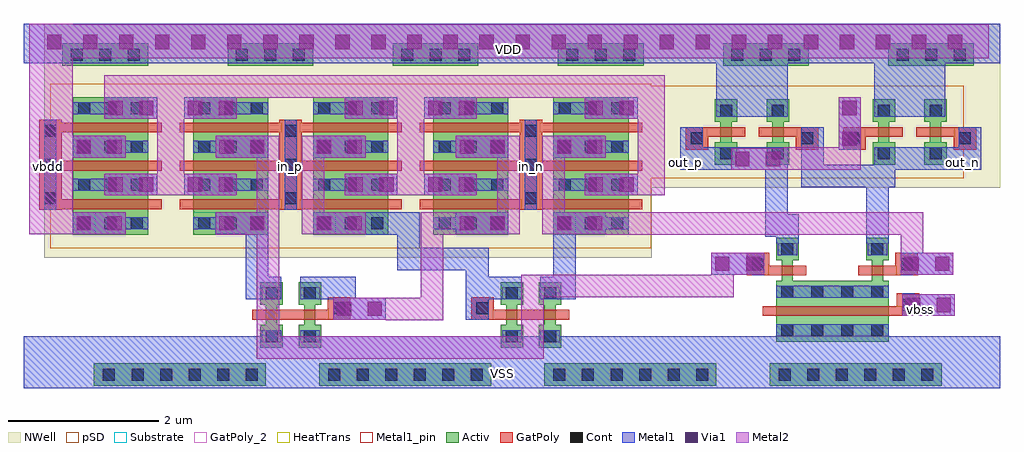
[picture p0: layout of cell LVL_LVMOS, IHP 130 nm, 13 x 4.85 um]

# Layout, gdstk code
from math import pi, radians
import gdstk
lib = gdstk.Library(unit=1e-6, precision=1e-09)
def R(c, l, rs):  # rectangles x0, y0, x1, y1
    for r in rs: c.add(gdstk.rectangle(r[:2], r[2:], *l))
def A(c, l, x, y, w, h, nx, ny, dx, dy):  # array of equal rectangles
    R(c, l, [(x+i*dx, y+j*dy, x+i*dx+w, y+j*dy+h) for i in range(nx) for j in range(ny)])
Activ = (1, 0)
GatPoly = (5, 0)
GatPoly_2 = (5, 2)
Cont = (6, 0)
Metal1 = (8, 0)
Metal1_pin = (8, 2)
Metal2 = (10, 0)
pSD = (14, 0)
Via1 = (19, 0)
NWell = (31, 0)
Substrate = (40, 0)
HeatTrans = (51, 0)

pmos_6 = lib.new_cell('pmos$6')
A(pmos_6, Activ, 0, 0, 0.3, 0.3, 4, 1, 0.51, 0)
R(pmos_6, Activ, [(0,0,1.83,1)])
A(pmos_6, GatPoly, 0.34, -0.18, 0.13, 1.36, 3, 1, 0.51, 0)
R(pmos_6, GatPoly, [(0.34,-0.18,0.47,1.18)])
A(pmos_6, Cont, 0.07, 0.07, 0.16, 0.16, 4, 3, 0.51, 0.35)
A(pmos_6, Metal1, 0.58, 0, 0.16, 1, 3, 1, 0.51, 0)
R(pmos_6, Metal1, [(0.07,0,0.23,1), (0.07,0,0.23,1), (0.58,0,0.74,1)])
R(pmos_6, pSD, [(-0.18,-0.3,2.01,1.3)])
R(pmos_6, NWell, [(-0.31,-0.31,2.14,1.31)])
R(pmos_6, Substrate, [(1.53,0,1.83,0.3)])
A(pmos_6, HeatTrans, 0.34, -0.18, 0.13, 1.36, 3, 1, 0.51, 0)
pmos_6.add(gdstk.Label('pmos', (0.405,0.5), layer=63, texttype=0))
pmos_6.add(gdstk.Label('pmos', (0.405,0.5), layer=51, texttype=0))
pmos_6.add(gdstk.Label('pmos', (0.915,0.5), layer=51, texttype=0))
pmos_6.add(gdstk.Label('pmos', (1.425,0.5), layer=51, texttype=0))

pmos_2 = lib.new_cell('pmos$2')
R(pmos_2, Activ, [(0,0,0.3,0.3), (0.57,0,0.87,0.3), (0,0.075,0.87,0.225)])
R(pmos_2, GatPoly, [(0.37,-0.105,0.5,0.405), (0.37,-0.105,0.5,0.405)])
R(pmos_2, Cont, [(0.07,0.07,0.23,0.23), (0.64,0.07,0.8,0.23)])
R(pmos_2, Metal1, [(0.07,0.02,0.23,0.28), (0.07,0.02,0.23,0.28), (0.64,0.02,0.8,0.28), (0.64,0.02,0.8,0.28)])
R(pmos_2, pSD, [(-0.18,-0.225,1.05,0.525)])
R(pmos_2, NWell, [(-0.31,-0.31,1.18,0.61)])
R(pmos_2, Substrate, [(0.57,0,0.87,0.3)])
R(pmos_2, HeatTrans, [(0.37,-0.105,0.5,0.405)])
pmos_2.add(gdstk.Label('pmos', (0.435,0.15), layer=63, texttype=0))
pmos_2.add(gdstk.Label('pmos', (0.435,0.15), layer=51, texttype=0))

via_stack_8 = lib.new_cell('via_stack$8')
R(via_stack_8, Metal1, [(-0.145,-0.35,0.145,0.35)])
R(via_stack_8, Metal2, [(-0.145,-0.35,0.145,0.35)])
R(via_stack_8, Via1, [(-0.095,-0.3,0.095,-0.11), (-0.095,0.11,0.095,0.3)])

vcm1_3x1 = lib.new_cell('vCM1_3x1')
A(vcm1_3x1, Cont, -0.08, -0.53, 0.16, 0.16, 1, 3, 0, 0.45)
R(vcm1_3x1, Metal1, [(-0.08,-0.6,0.08,0.6)])

vgcm1_3x1 = lib.new_cell('vGCM1_3x1')
R(vgcm1_3x1, GatPoly, [(-0.15,-0.6,0.15,0.6)])
vgcm1_3x1.add(gdstk.Reference(vcm1_3x1, (0,0)))

vgcm1_1x1 = lib.new_cell('vGCM1_1x1')
R(vgcm1_1x1, GatPoly, [(-0.15,-0.15,0.15,0.15)])
R(vgcm1_1x1, Cont, [(-0.08,-0.08,0.08,0.08)])
R(vgcm1_1x1, Metal1, [(-0.08,-0.15,0.08,0.15)])

nmos_6 = lib.new_cell('nmos$6')
R(nmos_6, Activ, [(0,0,0.3,0.3), (0.57,0,0.87,0.3), (0,0.075,0.87,0.225)])
R(nmos_6, GatPoly, [(0.37,-0.105,0.5,0.405)])
R(nmos_6, GatPoly_2, [(0.37,-0.105,0.5,0.405)])
R(nmos_6, Cont, [(0.07,0.07,0.23,0.23), (0.64,0.07,0.8,0.23)])
R(nmos_6, Metal1, [(0.07,0.02,0.23,0.28), (0.64,0.02,0.8,0.28)])
R(nmos_6, Metal1_pin, [(0.07,0.02,0.23,0.28), (0.64,0.02,0.8,0.28)])
R(nmos_6, HeatTrans, [(0.37,-0.105,0.5,0.405)])
nmos_6.add(gdstk.Label('nmos', (0.435,0.15), layer=63, texttype=0))
nmos_6.add(gdstk.Label('nmos', (0.435,0.15), layer=51, texttype=0))

nmos_9 = lib.new_cell('nmos$9')
R(nmos_9, Activ, [(0,0,0.3,0.3), (0,0,0.81,1.5), (0.51,0,0.81,0.3)])
R(nmos_9, GatPoly, [(0.34,-0.18,0.47,1.68)])
R(nmos_9, GatPoly_2, [(0.34,-0.18,0.47,1.68)])
A(nmos_9, Cont, 0.07, 0.07, 0.16, 0.16, 1, 4, 0, 0.4)
A(nmos_9, Cont, 0.58, 0.07, 0.16, 0.16, 1, 4, 0, 0.4)
R(nmos_9, Metal1, [(0.07,0,0.23,1.5), (0.58,0,0.74,1.5)])
R(nmos_9, Metal1_pin, [(0.07,0,0.23,1.5), (0.58,0,0.74,1.5)])
R(nmos_9, HeatTrans, [(0.34,-0.18,0.47,1.68)])
nmos_9.add(gdstk.Label('nmos', (0.405,0.75), layer=63, texttype=0))
nmos_9.add(gdstk.Label('nmos', (0.405,0.75), layer=51, texttype=0))

bulk_cont_3x1_1 = lib.new_cell('bulk_cont_3x1$1')
A(bulk_cont_3x1_1, Cont, -0.08, -1.035, 0.16, 0.16, 1, 3, 0, 0.38)
R(bulk_cont_3x1_1, Metal1, [(-0.08,-1.105,0.08,-0.045)])
bulk_cont_3x1_1.add(gdstk.FlexPath([(0,-0.005),(0,-1.145)], 0.3, ends="flush", simple_path=True, layer=1, datatype=0))  # Activ

bulk_cont_6x1 = lib.new_cell('bulk_cont_6x1')
A(bulk_cont_6x1, Cont, -0.08, -1.035, 0.16, 0.16, 1, 6, 0, 0.38)
R(bulk_cont_6x1, Metal1, [(-0.08,-1.105,0.08,1.095)])
bulk_cont_6x1.add(gdstk.FlexPath([(0,1.145),(0,-1.145)], 0.3, ends="flush", simple_path=True, layer=1, datatype=0))  # Activ

via_stack_25 = lib.new_cell('via_stack$25')
R(via_stack_25, Metal1, [(-6.145,-0.145,6.145,0.145)])
R(via_stack_25, Metal2, [(-6.145,-0.145,6.145,0.145)])
A(via_stack_25, Via1, -6.095, -0.095, 0.19, 0.19, 26, 1, 0.48, 0)

lvl_lvmos = lib.new_cell('LVL_LVMOS')
R(lvl_lvmos, Metal1, [(-3.352,-6.175,9.648,-5.485), (5.87,-2.56,6.82,-1.85), (7.97,-2.56,8.92,-1.85), (-3.352,-1.85,9.648,-1.325)])
A(lvl_lvmos, Metal2, -1.58, -3.61, 0.36, 1.49, 3, 1, 3.2, 0)
R(lvl_lvmos, Metal2, [(-3.285,-4.125,-2.7,-1.325), (-2.28,-2.308,5.18,-2.008), (-2.7,-1.785,9.5,-1.33)])
R(lvl_lvmos, pSD, [(5,-3.38,9.165,-2.15)])
R(lvl_lvmos, NWell, [(-3.08,-4.44,5.01,-1.325), (5.01,-3.51,9.25,-1.99), (5.01,-3.51,9.648,-1.325)])
lvl_lvmos.add(gdstk.FlexPath([(0.325,-4.845),(0.915,-4.845),(0.915,-5.265)], 0.3, ends="flush", simple_path=True, layer=8, datatype=0))  # Metal1
lvl_lvmos.add(gdstk.FlexPath([(-0.25,-4.125),(-0.25,-4.845),(0.075,-4.845)], 0.3, ends="flush", simple_path=True, layer=8, datatype=0))  # Metal1
lvl_lvmos.add(gdstk.FlexPath([(3.85,-4.125),(3.85,-4.845),(3.525,-4.845)], 0.3, ends="flush", simple_path=True, layer=8, datatype=0))  # Metal1
lvl_lvmos.add(gdstk.FlexPath([(1.2,-3.985),(1.77,-3.985),(1.77,-4.455),(2.685,-4.455),(2.685,-4.845)], 0.3, ends="flush", simple_path=True, layer=8, datatype=0))  # Metal1
lvl_lvmos.add(gdstk.FlexPath([(5.54,-2.7),(5.54,-3.12),(6.82,-3.12)], 0.3, ends="flush", simple_path=True, layer=8, datatype=0))  # Metal1
lvl_lvmos.add(gdstk.FlexPath([(9.25,-2.7),(9.25,-3.12),(7.97,-3.12)], 0.3, ends="flush", simple_path=True, layer=8, datatype=0))  # Metal1
lvl_lvmos.add(gdstk.FlexPath([(7.15,-2.7),(7.15,-3.35),(8.25,-3.35)], 0.3, ends="flush", simple_path=True, layer=8, datatype=0))  # Metal1
lvl_lvmos.add(gdstk.FlexPath([(3.275,-4.845),(2.685,-4.845),(2.685,-5.265)], 0.3, ends="flush", simple_path=True, layer=8, datatype=0))  # Metal1
lvl_lvmos.add(gdstk.FlexPath([(6.815,-4.245),(6.815,-4.01),(6.67,-4.01),(6.67,-3.27)], 0.3, ends="flush", simple_path=True, layer=8, datatype=0))  # Metal1
lvl_lvmos.add(gdstk.FlexPath([(8.015,-4.245),(8.015,-3.5)], 0.3, ends="flush", simple_path=True, layer=8, datatype=0))  # Metal1
lvl_lvmos.add(gdstk.FlexPath([(2.4,-3.985),(2.085,-3.985),(2.085,-5.125),(1.465,-5.125)], 0.3, ends="flush", simple_path=True, layer=10, datatype=0))  # Metal2
lvl_lvmos.add(gdstk.FlexPath([(-0.8,-3.985),(-0.1,-3.985),(-0.1,-5.645)], 0.3, ends="flush", simple_path=True, layer=10, datatype=0))  # Metal2
lvl_lvmos.add(gdstk.FlexPath([(6.1,-4.815),(3.42,-4.815),(3.42,-5.635),(-0.25,-5.635)], 0.3, ends="flush", simple_path=True, layer=10, datatype=0))  # Metal2
lvl_lvmos.add(gdstk.FlexPath([(6.765,-3.115),(7.79,-3.115)], 0.3, ends="flush", simple_path=True, layer=10, datatype=0))  # Metal2
lvl_lvmos.add(gdstk.FlexPath([(0.5,-4.125),(0.5,-2.815)], 0.3, ends="flush", simple_path=True, layer=10, datatype=0))  # Metal2
lvl_lvmos.add(gdstk.FlexPath([(-0.1,-4.125),(-0.1,-2.815)], 0.3, ends="flush", simple_path=True, layer=10, datatype=0))  # Metal2
lvl_lvmos.add(gdstk.FlexPath([(3.1,-4.125),(3.1,-2.815)], 0.3, ends="flush", simple_path=True, layer=10, datatype=0))  # Metal2
lvl_lvmos.add(gdstk.FlexPath([(3.7,-4.125),(3.7,-2.815)], 0.3, ends="flush", simple_path=True, layer=10, datatype=0))  # Metal2
lvl_lvmos.add(gdstk.FlexPath([(4.4,-3.985),(8.475,-3.985),(8.475,-4.375)], 0.3, ends="flush", simple_path=True, layer=10, datatype=0))  # Metal2
lvl_lvmos.add(gdstk.Reference(pmos_6, (2.1,-2.3), rotation=3*pi/2))
lvl_lvmos.add(gdstk.Reference(pmos_2, (5.85,-2.33), rotation=3*pi/2))
lvl_lvmos.add(gdstk.Reference(pmos_2, (6.54,-2.33), rotation=3*pi/2))
lvl_lvmos.add(gdstk.Reference(via_stack_8, (2.33,-2.445), rotation=3*pi/2))
lvl_lvmos.add(gdstk.Reference(via_stack_8, (2.75,-2.96), rotation=3*pi/2))
lvl_lvmos.add(gdstk.Reference(vgcm1_3x1, (3.4,-3.2)))
lvl_lvmos.add(gdstk.Reference(pmos_6, (3.7,-2.3), rotation=3*pi/2))
lvl_lvmos.add(gdstk.Reference(via_stack_8, (2.33,-3.465), rotation=3*pi/2))
lvl_lvmos.add(gdstk.Reference(via_stack_8, (2.75,-3.98), rotation=3*pi/2))
lvl_lvmos.add(gdstk.Reference(via_stack_8, (4.47,-2.445), rotation=3*pi/2, x_reflection=True))
lvl_lvmos.add(gdstk.Reference(via_stack_8, (4.05,-2.96), rotation=3*pi/2, x_reflection=True))
lvl_lvmos.add(gdstk.Reference(via_stack_8, (4.47,-3.465), rotation=3*pi/2, x_reflection=True))
lvl_lvmos.add(gdstk.Reference(via_stack_8, (-0.45,-3.98), rotation=3*pi/2))
lvl_lvmos.add(gdstk.Reference(via_stack_8, (-0.87,-3.465), rotation=3*pi/2))
lvl_lvmos.add(gdstk.Reference(via_stack_8, (-0.45,-2.96), rotation=3*pi/2))
lvl_lvmos.add(gdstk.Reference(via_stack_8, (-0.87,-2.445), rotation=3*pi/2))
lvl_lvmos.add(gdstk.Reference(pmos_6, (-1.1,-2.3), rotation=3*pi/2))
lvl_lvmos.add(gdstk.Reference(via_stack_8, (1.27,-2.445), rotation=3*pi/2, x_reflection=True))
lvl_lvmos.add(gdstk.Reference(via_stack_8, (0.85,-2.96), rotation=3*pi/2, x_reflection=True))
lvl_lvmos.add(gdstk.Reference(via_stack_8, (1.27,-3.465), rotation=3*pi/2, x_reflection=True))
lvl_lvmos.add(gdstk.Reference(via_stack_8, (0.85,-3.98), rotation=3*pi/2, x_reflection=True))
lvl_lvmos.add(gdstk.Reference(vgcm1_3x1, (0.2,-3.2)))
lvl_lvmos.add(gdstk.Reference(pmos_6, (0.5,-2.3), rotation=3*pi/2))
lvl_lvmos.add(gdstk.Reference(via_stack_8, (-1.93,-2.445), rotation=3*pi/2, x_reflection=True))
lvl_lvmos.add(gdstk.Reference(via_stack_8, (-2.35,-2.96), rotation=3*pi/2, x_reflection=True))
lvl_lvmos.add(gdstk.Reference(via_stack_8, (-1.93,-3.465), rotation=3*pi/2, x_reflection=True))
lvl_lvmos.add(gdstk.Reference(via_stack_8, (-2.35,-3.98), rotation=3*pi/2, x_reflection=True))
lvl_lvmos.add(gdstk.Reference(vgcm1_3x1, (-3,-3.2)))
lvl_lvmos.add(gdstk.Reference(vgcm1_1x1, (5.61,-2.85)))
lvl_lvmos.add(gdstk.Reference(vgcm1_1x1, (7.08,-2.85)))
lvl_lvmos.add(gdstk.Reference(pmos_2, (7.95,-2.33), rotation=3*pi/2))
lvl_lvmos.add(gdstk.Reference(pmos_2, (8.64,-2.33), rotation=3*pi/2))
lvl_lvmos.add(gdstk.Reference(vgcm1_1x1, (7.71,-2.85)))
lvl_lvmos.add(gdstk.Reference(vgcm1_1x1, (9.18,-2.85)))
lvl_lvmos.add(gdstk.Reference(via_stack_8, (4.05,-3.98), rotation=3*pi/2, x_reflection=True))
lvl_lvmos.add(gdstk.Reference(via_stack_8, (6.42,-3.125), rotation=3*pi/2, x_reflection=True))
lvl_lvmos.add(gdstk.Reference(via_stack_8, (7.645,-2.65), x_reflection=True))
lvl_lvmos.add(gdstk.Reference(nmos_6, (6.665,-4.175), rotation=3*pi/2))
lvl_lvmos.add(gdstk.Reference(nmos_9, (6.665,-4.745), rotation=3*pi/2))
lvl_lvmos.add(gdstk.Reference(nmos_6, (7.865,-4.175), rotation=3*pi/2))
lvl_lvmos.add(gdstk.Reference(vgcm1_1x1, (6.425,-4.525)))
lvl_lvmos.add(gdstk.Reference(vgcm1_1x1, (8.405,-4.525)))
r = gdstk.Reference(bulk_cont_3x1_1, (-1.695,-1.735), rotation=3*pi/2); r.repetition = gdstk.Repetition(1, 6, v1=(0,0), v2=(2.2,0)); lvl_lvmos.add(r)
lvl_lvmos.add(gdstk.Reference(vgcm1_1x1, (8.425,-5.065)))
lvl_lvmos.add(gdstk.Reference(nmos_6, (2.995,-4.765), rotation=3*pi/2))
lvl_lvmos.add(gdstk.Reference(vgcm1_1x1, (2.755,-5.115)))
lvl_lvmos.add(gdstk.Reference(nmos_6, (3.505,-4.765), rotation=3*pi/2))
lvl_lvmos.add(gdstk.Reference(nmos_6, (0.605,-4.765), rotation=3*pi/2, x_reflection=True))
lvl_lvmos.add(gdstk.Reference(vgcm1_1x1, (0.845,-5.115), rotation=pi, x_reflection=True))
lvl_lvmos.add(gdstk.Reference(nmos_6, (0.095,-4.765), rotation=3*pi/2, x_reflection=True))
lvl_lvmos.add(gdstk.Reference(via_stack_8, (6.155,-4.52), rotation=3*pi/2, x_reflection=True))
lvl_lvmos.add(gdstk.Reference(pmos_6, (-2.7,-2.3), rotation=3*pi/2))
lvl_lvmos.add(gdstk.Reference(via_stack_8, (8.675,-4.52), rotation=3*pi/2, x_reflection=True))
lvl_lvmos.add(gdstk.Reference(via_stack_8, (8.695,-5.07), rotation=3*pi/2, x_reflection=True))
r = gdstk.Reference(bulk_cont_6x1, (7.725,-5.995), rotation=pi/2); r.repetition = gdstk.Repetition(1, 4, v1=(0,0), v2=(-3,0)); lvl_lvmos.add(r)
lvl_lvmos.add(gdstk.Reference(via_stack_25, (3.05,-1.565)))
lvl_lvmos.add(gdstk.Reference(via_stack_8, (1.115,-5.12), rotation=pi/2))
lvl_lvmos.add(gdstk.Label('vbdd', (-3.03,-3.225), layer=8, texttype=25))
lvl_lvmos.add(gdstk.Label('in_p', (0.195,-3.22), layer=8, texttype=25))
lvl_lvmos.add(gdstk.Label('in_n', (3.405,-3.22), layer=8, texttype=25))
lvl_lvmos.add(gdstk.Label('out_n', (9.15,-3.165), layer=8, texttype=25))
lvl_lvmos.add(gdstk.Label('out_p', (5.465,-3.17), layer=8, texttype=25))
lvl_lvmos.add(gdstk.Label('VSS', (3.025,-5.98), layer=8, texttype=25))
lvl_lvmos.add(gdstk.Label('VDD', (3.095,-1.66), layer=8, texttype=25))
lvl_lvmos.add(gdstk.Label('vbss', (8.585,-5.135), layer=10, texttype=25))

lib.write_gds('LVL_LVMOS.gds')
